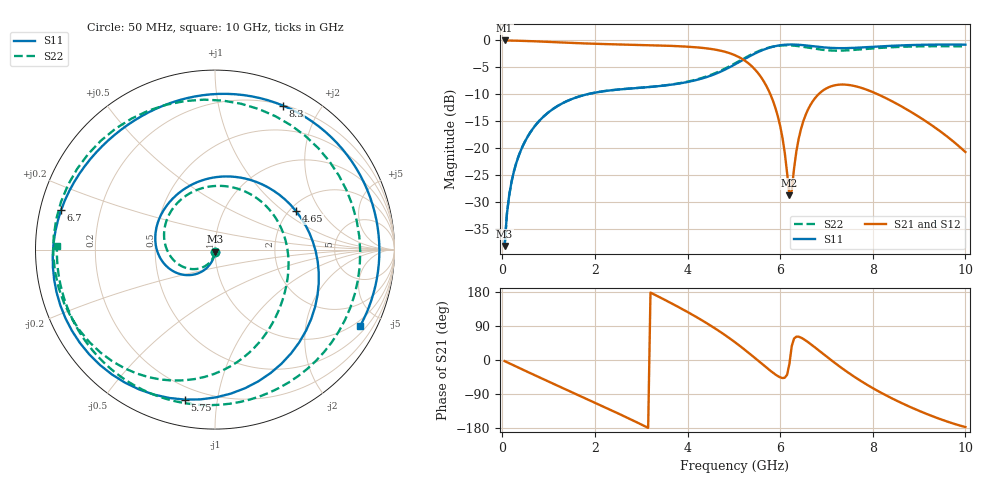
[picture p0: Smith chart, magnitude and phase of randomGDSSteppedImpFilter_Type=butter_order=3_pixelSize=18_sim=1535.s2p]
! freq	dB(S11)	phase(S11)	dB(S12)	phase(S12)
!  dB(S21)	phase(S21)	dB(S22)	phase(S22)
!S-par simulation data
#  GHz  S  DB  R 50
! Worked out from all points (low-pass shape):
!   200 points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, 50 MHz to 10 GHz, reference 50 ohm
!   highest |S21| = 0.00 dB at 50 MHz (marker M1); lowest = -28.7 dB at 6.2 GHz (marker M2)
!   |S21| within 3 dB of the highest: start of sweep to 5.089 GHz
!   lowest |S11| = -38.1 dB at 50 MHz (marker M3), VSWR 1.03, Z = 49.9 - j1.24 ohm
!   |S11| at or under -10 dB: start of sweep to 1.829 GHz
!   |S22| runs from -38.2 to -0.9 dB; largest |S21 - S12| = 0
!   S11 on the Smith chart (normalised r, x): 50 MHz: 1.00, -0.02; 4.65 GHz: 2.15, +1.24; 5.75 GHz: 0.13, -0.81; 6.7 GHz: 0.06, +0.13; 8.3 GHz: 0.21, +1.56; 10 GHz: 0.76, -3.92
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0.05  -38.14 -92.8  -0.00 -2.9  -0.00 -2.9  -38.16 -93.6
0.2  -26.21 -100.8  -0.03 -11.6  -0.03 -11.6  -26.20 -104.2
0.5  -18.58 -115.4  -0.10 -28.7  -0.10 -28.7  -18.57 -124.1
1.75  -10.17 -171.9  -0.55 -98.7  -0.55 -98.7  -10.16 152.8
2.65  -9.00 151.4  -0.76 -149.5  -0.76 -149.5  -8.99 88.3
3.4  -8.46 117.9  -0.93 165.6  -0.93 165.6  -8.44 32.3
4.1  -7.53 74.5  -1.22 119.8  -1.22 119.8  -7.45 -15.6
4.65  -6.03 25.7  -1.78 78.9  -1.78 78.9  -5.87 -49.0
5.05  -4.32 -18.1  -2.84 44.6  -2.84 44.6  -4.13 -75.2
5.35  -2.89 -53.7  -4.50 15.9  -4.50 15.9  -2.73 -99.0
5.75  -1.39 -101.4  -9.26 -24.5  -9.26 -24.5  -1.33 -138.0
6  -0.89 -129.6  -15.85 -45.7  -15.85 -45.7  -0.95 -166.3
6.2  -0.76 -150.4  -28.71 -10.2  -28.71 -10.2  -0.91 169.1
6.45  -0.83 -173.9  -16.43 59.1  -16.43 59.1  -1.12 136.3
6.7  -1.06 165.5  -11.33 38.2  -11.33 38.2  -1.47 101.3
7.1  -1.38 137.6  -8.51 -0.2  -8.51 -0.2  -1.87 44.5
7.4  -1.43 118.9  -8.19 -27.4  -8.19 -27.4  -1.86 5.3
7.85  -1.26 91.6  -9.08 -63.4  -9.08 -63.4  -1.58 -43.2
8.3  -1.04 64.6  -10.77 -94.2  -10.77 -94.2  -1.31 -80.7
8.35  -1.02 61.7  -10.99 -97.3  -10.99 -97.3  -1.28 -84.3
9.15  -0.79 16.0  -15.02 -141.7  -15.02 -141.7  -1.08 -134.7
10  -0.78 -27.7  -20.69 -176.9  -20.69 -176.9  -1.10 178.6
